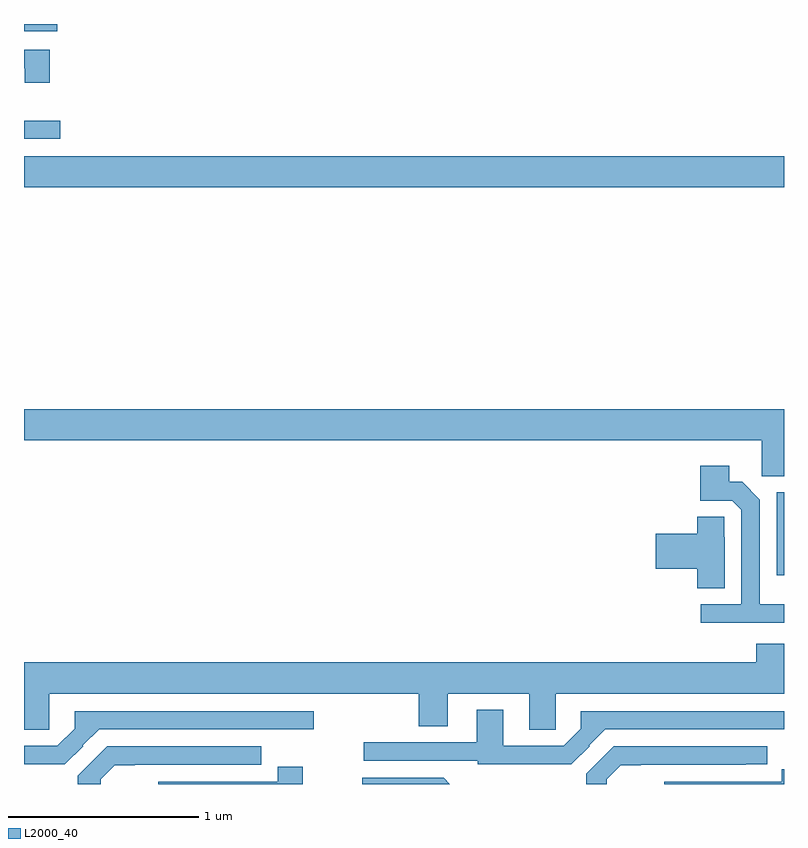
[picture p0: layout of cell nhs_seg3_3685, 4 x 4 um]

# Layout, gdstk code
import gdstk
lib = gdstk.Library(unit=1e-6, precision=1e-09)
def R(c, l, rs):  # rectangles x0, y0, x1, y1
    for r in rs: c.add(gdstk.rectangle(r[:2], r[2:], *l))
def P(c, l, *ps):  # polygons
    for p in ps: c.add(gdstk.Polygon(p, *l))
L2000_40 = (2000, 40)

nhs_seg3_3685 = lib.new_cell('nhs_seg3_3685')
R(nhs_seg3_3685, L2000_40, [(304.961,741.498,305,741.936), (301,743.54,305,743.704), (301,743.796,301.192,743.892), (301,744.362,301.174,744.4)])
P(nhs_seg3_3685, L2000_40, [(301.135,744.264),(301,744.264),(301,744.168),(301.004,744.168),(301.004,744.09),(301.135,744.09)],
  [(305,742.372),(301,742.372),(301,742.208),(304.884,742.208),(304.884,742.021),(305,742.021)],
  [(305,741.346),(304.872,741.346),(304.872,741.897),(304.779,741.99),(304.711,741.99),(304.711,742.075),(304.559,742.075),(304.559,741.891),(304.728,741.891),(304.776,741.843),(304.776,741.345),(304.563,741.345),(304.563,741.249),(305,741.249)],
  [(304.687,741.698),(304.686,741.698),(304.686,741.806),(304.544,741.806),(304.544,741.716),(304.326,741.716),(304.326,741.533),(304.544,741.533),(304.544,741.43),(304.687,741.43)],
  [(301.134,740.876),(303.077,740.876),(303.077,740.704),(303.229,740.704),(303.229,740.876),(303.659,740.876),(303.659,740.686),(303.798,740.686),(303.798,740.876),(305,740.876),(305,741.139),(304.853,741.139),(304.853,741.04),(301,741.04),(301,740.686),(301.134,740.686)],
  [(303.977,740.6),(303.974,740.603),(304.059,740.688),(305,740.688),(305,740.784),(303.931,740.784),(303.931,740.692),(303.84,740.601),(303.523,740.601),(303.523,740.791),(303.383,740.791),(303.383,740.619),(302.787,740.619),(302.787,740.523),(303.387,740.523),(303.387,740.504),(303.881,740.504)],
  [(301.313,740.6),(301.31,740.603),(301.395,740.688),(302.524,740.688),(302.524,740.784),(301.267,740.784),(301.267,740.692),(301.176,740.601),(301,740.601),(301,740.505),(301.115,740.505),(301.115,740.503),(301.215,740.503)],
  [(304.067,740.424),(304.142,740.5),(304.246,740.5),(304.246,740.502),(304.799,740.502),(304.799,740.503),(304.912,740.503),(304.912,740.598),(304.103,740.598),(303.959,740.454),(303.959,740.4),(304.067,740.4)],
  [(301.403,740.424),(301.478,740.5),(301.582,740.5),(301.582,740.502),(302.248,740.502),(302.248,740.598),(301.439,740.598),(301.284,740.443),(301.284,740.4),(301.403,740.4)],
  [(302.467,740.491),(302.336,740.491),(302.336,740.412),(301.991,740.412),(301.991,740.413),(301.707,740.413),(301.707,740.4),(302.467,740.4)],
  [(305,740.478),(304.989,740.478),(304.989,740.412),(304.655,740.412),(304.655,740.413),(304.371,740.413),(304.371,740.4),(305,740.4)],
  [(303.208,740.433),(302.78,740.433),(302.78,740.4),(303.241,740.4)])

lib.write_gds('nhs_seg3_3685.gds')
